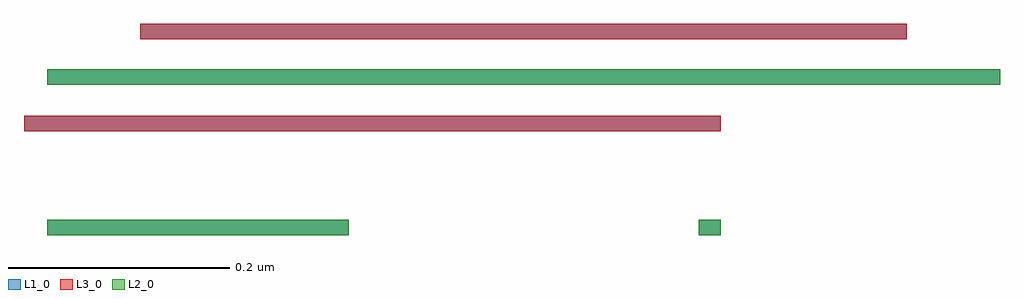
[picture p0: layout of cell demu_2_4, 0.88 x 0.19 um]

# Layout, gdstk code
import gdstk
lib = gdstk.Library(unit=1e-6, precision=5e-10)
def R(c, l, rs):  # rectangles x0, y0, x1, y1
    for r in rs: c.add(gdstk.rectangle(r[:2], r[2:], *l))
L1_0 = (1, 0)
L2_0 = (2, 0)
L3_0 = (3, 0)

demu_2_4 = lib.new_cell('demu_2_4')
R(demu_2_4, L1_0, [(0.061,0.201,0.333,0.215), (0.649,0.201,0.669,0.215), (0.04,0.2945,0.669,0.3085), (0.061,0.3365,0.921,0.3505), (0.145,0.3775,0.837,0.3915)])
R(demu_2_4, L2_0, [(0.061,0.201,0.333,0.215), (0.649,0.201,0.669,0.215), (0.061,0.3365,0.921,0.3505)])
R(demu_2_4, L3_0, [(0.04,0.2945,0.669,0.3085), (0.145,0.3775,0.837,0.3915)])

lib.write_gds('demu_2_4.gds')
